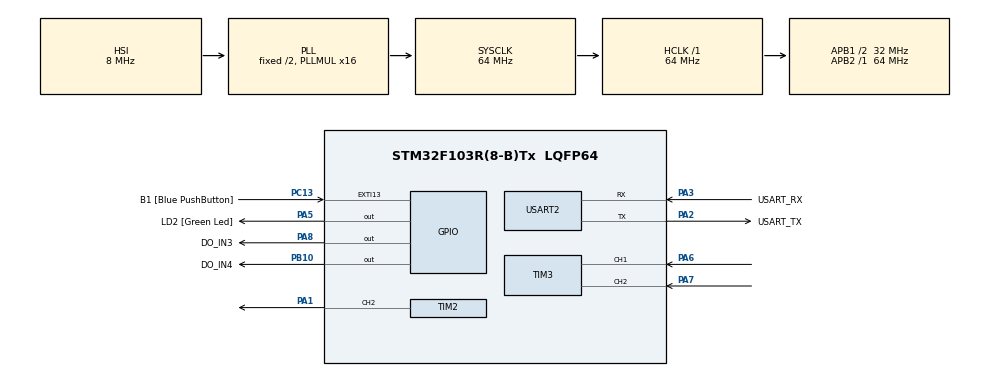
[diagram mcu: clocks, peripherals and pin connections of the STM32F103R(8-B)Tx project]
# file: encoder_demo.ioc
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Mcu.Family=STM32F1
Mcu.Name=STM32F103R(8-B)Tx
Mcu.Package=LQFP64
NVIC.EXTI15_10_IRQn=true\:0\:0\:false\:false\:true\:true\:true\:true
NVIC.PriorityGroup=NVIC_PRIORITYGROUP_4
PA1.Signal=S_TIM2_CH2
PA13.GPIO_Label=TMS
PA13.Mode=Serial_Wire
PA13.Signal=SYS_JTMS-SWDIO
PA14.GPIO_Label=TCK
PA14.Mode=Serial_Wire
PA14.Signal=SYS_JTCK-SWCLK
PA2.GPIO_Label=USART_TX
PA2.GPIO_Mode=GPIO_MODE_AF_PP
PA2.GPIO_PuPd=GPIO_NOPULL
PA2.GPIO_Speed=GPIO_SPEED_FREQ_LOW
PA2.Mode=Asynchronous
PA2.Signal=USART2_TX
PA3.GPIO_Label=USART_RX
PA3.GPIO_Mode=GPIO_MODE_AF_PP
PA3.GPIO_PuPd=GPIO_NOPULL
PA3.GPIO_Speed=GPIO_SPEED_FREQ_LOW
PA3.Mode=Asynchronous
PA3.Signal=USART2_RX
PA5.GPIO_Label=LD2 [Green Led]
PA5.GPIO_ModeDefaultOutputPP=GPIO_MODE_OUTPUT_PP
PA5.GPIO_PuPd=GPIO_NOPULL
PA5.GPIO_Speed=GPIO_SPEED_FREQ_LOW
PA5.Signal=GPIO_Output
PA6.Signal=S_TIM3_CH1
PA7.Signal=S_TIM3_CH2
PA8.GPIO_Label=DO_IN3
PA8.Signal=GPIO_Output
PB10.GPIO_Label=DO_IN4
PB10.Signal=GPIO_Output
PB3.GPIO_Label=SWO
PB3.Signal=SYS_JTDO-TRACESWO
PC13-TAMPER-RTC.GPIO_Label=B1 [Blue PushButton]
PC13-TAMPER-RTC.GPIO_PuPd=GPIO_NOPULL
PC13-TAMPER-RTC.Signal=GPXTI13
PC14-OSC32_IN.Mode=LSE-External-Oscillator
PC14-OSC32_IN.Signal=RCC_OSC32_IN
PC15-OSC32_OUT.Mode=LSE-External-Oscillator
PC15-OSC32_OUT.Signal=RCC_OSC32_OUT
PD0-OSC_IN.Mode=HSE-External-Clock-Source
PD0-OSC_IN.Signal=RCC_OSC_IN
PD1-OSC_OUT.Mode=HSE-External-Clock-Source
PD1-OSC_OUT.Signal=RCC_OSC_OUT
ProjectManager.HeapSize=0x200
ProjectManager.StackSize=0x400
ProjectManager.TargetToolchain=CMake
RCC.AHBFreq_Value=64000000
RCC.APB1CLKDivider=RCC_HCLK_DIV2
RCC.APB1Freq_Value=32000000
RCC.APB1TimFreq_Value=64000000
RCC.APB2Freq_Value=64000000
RCC.APB2TimFreq_Value=64000000
RCC.HCLKFreq_Value=64000000
RCC.PLLMUL=RCC_PLL_MUL16
RCC.RTCClockSelection=RCC_RTCCLKSOURCE_LSE
RCC.SYSCLKFreq_VALUE=64000000
RCC.SYSCLKSource=RCC_SYSCLKSOURCE_PLLCLK
RCC.USBFreq_Value=64000000
SH.S_TIM2_CH2.0=TIM2_CH2,Output Compare2 CH2
SH.S_TIM3_CH1.0=TIM3_CH1,Encoder_Interface
SH.S_TIM3_CH2.0=TIM3_CH2,Encoder_Interface
TIM2.Channel-Output\ Compare2\ CH2=TIM_CHANNEL_2
TIM2.Period=3199
TIM2.Prescaler=0
TIM3.EncoderMode=TIM_ENCODERMODE_TI12
TIM3.IC1Filter=5
USART2.VirtualMode=VM_ASYNC
VP_TIM2_VS_ClockSourceINT.Mode=Internal
board=NUCLEO-F103RB

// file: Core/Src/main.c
/* USER CODE BEGIN Header */
/**
  ******************************************************************************
  * @file           : main.c
  * @brief          : Main program body
  ******************************************************************************
  * @attention
  *
  * Copyright (c) 2026 STMicroelectronics.
  * All rights reserved.
  *
  * This software is licensed under terms that can be found in the LICENSE file
  * in the root directory of this software component.
  * If no LICENSE file comes with this software, it is provided AS-IS.
  *
  ******************************************************************************
  */
/* USER CODE END Header */
#include "main.h"
#include "PID.h"
#include "stm32f103xb.h"
#include "stm32f1xx_hal_uart.h"
#include <stdint.h>
#include <stdio.h>
#include <string.h>

/* USER CODE BEGIN PD */

#define ENCODER_COUNTS_PER_REV 2048.0f
#define UART_PUBLISH_INTERVAL_MS 20U

/* Motor control constants */
#define MOTOR_PWM_DUTY_MAX  3199U

/* PID tuning — gains are for normalized output [0, 1]; firmware scales to counts after compute
 * Derived from identified plant: G(s) = 131.15 / (1 + 0.10094*s), input = normalized PWM */
#define PID_SAMPLE_TIME_S   0.020f
#define PID_KP              0.004f
#define PID_KI              0.040f
#define PID_KD              0.000f
#define PID_TAU             0.020f

/* USER CODE END PD */

TIM_HandleTypeDef htim2;
TIM_HandleTypeDef htim3;

UART_HandleTypeDef huart2;

/* USER CODE BEGIN PV */
char uart_buffer[64];
uint32_t last_uart_publish_tick = 0;

static uint8_t experiment_running = 0;
static float rpm_setpoint = 0.0f;
static char rx_buf[8];
static uint8_t rx_idx = 0;
PIDController motor_pid;

/* USER CODE END PV */

void SystemClock_Config(void);
static void MX_GPIO_Init(void);
static void MX_TIM3_Init(void);
static void MX_USART2_UART_Init(void);
static void MX_TIM2_Init(void);

/* USER CODE BEGIN 0 */

static float encoder_compute_rpm(uint16_t current_count,
                                 uint16_t previous_count,
                                 uint32_t elapsed_ms)
{
  if (elapsed_ms == 0U)
  {
    return 0.0f;
  }

  int16_t count_delta = (int16_t)(current_count - previous_count);
  float elapsed_minutes = ((float)elapsed_ms) / 60000.0f;

  return ((float)count_delta / ENCODER_COUNTS_PER_REV) / elapsed_minutes;
}

/**
  * @brief Set motor to forward direction and apply PWM duty
  * @param duty: PWM duty cycle (0 to 3199)
  */
static void motor_set_forward(uint16_t duty)
{
  HAL_GPIO_WritePin(DO_IN3_GPIO_Port, DO_IN3_Pin, GPIO_PIN_RESET);
  HAL_GPIO_WritePin(DO_IN4_GPIO_Port, DO_IN4_Pin, GPIO_PIN_SET);
  __HAL_TIM_SET_COMPARE(&htim2, TIM_CHANNEL_2, duty);
}

/**
  * @brief Set motor to reverse direction and apply PWM duty
  * @param duty: PWM duty cycle (0 to 3199)
  */
static void motor_set_reverse(uint16_t duty)
{
  HAL_GPIO_WritePin(DO_IN4_GPIO_Port, DO_IN4_Pin, GPIO_PIN_RESET);
  HAL_GPIO_WritePin(DO_IN3_GPIO_Port, DO_IN3_Pin, GPIO_PIN_SET);
  __HAL_TIM_SET_COMPARE(&htim2, TIM_CHANNEL_2, duty);
}

/* USER CODE END 0 */

int main(void)
{

  /* MCU Configuration--------------------------------------------------------*/

  /* Reset of all peripherals, Initializes the Flash interface and the Systick. */
  HAL_Init();

  /* Configure the system clock */
  SystemClock_Config();

  /* Initialize all configured peripherals */
  MX_GPIO_Init();
  MX_TIM3_Init();
  MX_USART2_UART_Init();
  MX_TIM2_Init();
  /* USER CODE BEGIN 2 */
  uint16_t counter_value = 0;
  uint16_t past_counter_value = 0;
  float motor_rpm = 0.0f;
  HAL_TIM_Encoder_Start(&htim3, TIM_CHANNEL_ALL);
  __HAL_TIM_SET_COUNTER(&htim3, 0U);
  HAL_TIM_PWM_Start(&htim2, TIM_CHANNEL_2);

  motor_pid.Kp = PID_KP;
  motor_pid.Ki = PID_KI;
  motor_pid.Kd = PID_KD;
  motor_pid.tau = PID_TAU;
  motor_pid.T = PID_SAMPLE_TIME_S;
  motor_pid.limMin = -1.0f;
  motor_pid.limMax = 1.0f;
  motor_pid.limMinInt = -1.0f;
  motor_pid.limMaxInt = 1.0f;
  PID_Init(&motor_pid);
  /* Send 's' to arm, then any integer RPM value (e.g. "120") to set the target */

  /* USER CODE END 2 */

  /* Infinite loop */
  while (1)
  {

    /* USER CODE BEGIN 3 */
    uint32_t current_tick = HAL_GetTick();

    /* UART RX: buffer chars until newline, then parse command.
     * 's'       — arm the experiment (motor off, setpoint = 0)
     * '0'..'9'  — update RPM setpoint forward (e.g. "120\n")
     * '-' + digits — set negative RPM setpoint for reverse (e.g. "-120\n")
     */
    if (__HAL_UART_GET_FLAG(&huart2, UART_FLAG_RXNE))
    {
      uint8_t rx_byte = (uint8_t)(huart2.Instance->DR & 0xFFU);
      if (rx_byte == '\r' || rx_byte == '\n')
      {
        if (rx_idx > 0U)
        {
          rx_buf[rx_idx] = '\0';
          if (rx_idx == 1U && rx_buf[0] == 's')
          {
            experiment_running = 1;
            last_uart_publish_tick = current_tick;
            past_counter_value = __HAL_TIM_GET_COUNTER(&htim3);
            PID_Init(&motor_pid);
            rpm_setpoint = 0.0f;
          }
          else
          {
            int32_t val = 0;
            uint8_t start = 0U;
            int8_t sign = 1;
            if (rx_buf[0] == '-')
            {
              sign = -1;
              start = 1U;
            }
            for (uint8_t i = start; i < rx_idx; i++)
            {
              if (rx_buf[i] >= '0' && rx_buf[i] <= '9')
              {
                val = val * 10 + (int32_t)(rx_buf[i] - '0');
              }
            }
            rpm_setpoint = (float)(sign * val);
          }
          rx_idx = 0U;
        }
      }
      else if (rx_idx < (uint8_t)(sizeof(rx_buf) - 1U))
      {
        rx_buf[rx_idx++] = (char)rx_byte;
      }
    }

    if (experiment_running)
    {
      counter_value = __HAL_TIM_GET_COUNTER(&htim3);

      if ((current_tick - last_uart_publish_tick) >= UART_PUBLISH_INTERVAL_MS)
      {
        uint32_t sample_elapsed_ms = current_tick - last_uart_publish_tick;

        motor_rpm = encoder_compute_rpm(counter_value, past_counter_value, sample_elapsed_ms);

        /* PID velocity control — normalized output then scale to counts */
        float u_norm = PID_Compute(&motor_pid, rpm_setpoint, motor_rpm);
        float u_abs  = (u_norm < 0.0f) ? -u_norm : u_norm;
        uint16_t pwm_command = (uint16_t)(u_abs * (float)MOTOR_PWM_DUTY_MAX);

        if (rpm_setpoint == 0.0f)
        {
          HAL_GPIO_WritePin(DO_IN3_GPIO_Port, DO_IN3_Pin, GPIO_PIN_RESET);
          HAL_GPIO_WritePin(DO_IN4_GPIO_Port, DO_IN4_Pin, GPIO_PIN_RESET);
          __HAL_TIM_SET_COMPARE(&htim2, TIM_CHANNEL_2, 0U);
        }
        else if (u_norm >= 0.0f)
        {
          motor_set_forward(pwm_command);
        }
        else
        {
          motor_set_reverse(pwm_command);
        }

        /* Telemetry — log current-cycle command alongside current measurement */
        const char *u_sign = (u_norm < 0.0f) ? "-" : "";
        uint32_t u_int  = (uint32_t)u_abs;
        uint32_t u_frac = (uint32_t)((u_abs - (float)u_int) * 1000.0f);

        int tx_len = snprintf(uart_buffer,
                              sizeof(uart_buffer),
                              "%d,%d,%s%lu.%03lu\r\n",
                              (int)motor_rpm,
                              (int)rpm_setpoint,
                              u_sign,
                              (unsigned long)u_int,
                              (unsigned long)u_frac);

        if (tx_len > 0)
        {
          HAL_UART_Transmit(&huart2, (uint8_t*)uart_buffer, (uint16_t)tx_len, 20);
        }
        last_uart_publish_tick = current_tick;
        past_counter_value = counter_value;
      }
    }

  }
  /* USER CODE END 3 */
}

void SystemClock_Config(void)
{
  RCC_OscInitTypeDef RCC_OscInitStruct = {0};
  RCC_ClkInitTypeDef RCC_ClkInitStruct = {0};

  /** Initializes the RCC Oscillators according to the specified parameters
  * in the RCC_OscInitTypeDef structure.
  */
  RCC_OscInitStruct.OscillatorType = RCC_OSCILLATORTYPE_HSI;
  RCC_OscInitStruct.HSIState = RCC_HSI_ON;
  RCC_OscInitStruct.HSICalibrationValue = RCC_HSICALIBRATION_DEFAULT;
  RCC_OscInitStruct.PLL.PLLState = RCC_PLL_ON;
  RCC_OscInitStruct.PLL.PLLSource = RCC_PLLSOURCE_HSI_DIV2;
  RCC_OscInitStruct.PLL.PLLMUL = RCC_PLL_MUL16;
  if (HAL_RCC_OscConfig(&RCC_OscInitStruct) != HAL_OK)
  {
    Error_Handler();
  }

  /** Initializes the CPU, AHB and APB buses clocks
  */
  RCC_ClkInitStruct.ClockType = RCC_CLOCKTYPE_HCLK|RCC_CLOCKTYPE_SYSCLK
                              |RCC_CLOCKTYPE_PCLK1|RCC_CLOCKTYPE_PCLK2;
  RCC_ClkInitStruct.SYSCLKSource = RCC_SYSCLKSOURCE_PLLCLK;
  RCC_ClkInitStruct.AHBCLKDivider = RCC_SYSCLK_DIV1;
  RCC_ClkInitStruct.APB1CLKDivider = RCC_HCLK_DIV2;
  RCC_ClkInitStruct.APB2CLKDivider = RCC_HCLK_DIV1;

  if (HAL_RCC_ClockConfig(&RCC_ClkInitStruct, FLASH_LATENCY_2) != HAL_OK)
  {
    Error_Handler();
  }
}

static void MX_TIM2_Init(void)
{

  TIM_ClockConfigTypeDef sClockSourceConfig = {0};
  TIM_MasterConfigTypeDef sMasterConfig = {0};
  TIM_OC_InitTypeDef sConfigOC = {0};

  htim2.Instance = TIM2;
  htim2.Init.Prescaler = 0;
  htim2.Init.CounterMode = TIM_COUNTERMODE_UP;
  htim2.Init.Period = 3199;
  htim2.Init.ClockDivision = TIM_CLOCKDIVISION_DIV1;
  htim2.Init.AutoReloadPreload = TIM_AUTORELOAD_PRELOAD_DISABLE;
  if (HAL_TIM_Base_Init(&htim2) != HAL_OK)
  {
    Error_Handler();
  }
  sClockSourceConfig.ClockSource = TIM_CLOCKSOURCE_INTERNAL;
  if (HAL_TIM_ConfigClockSource(&htim2, &sClockSourceConfig) != HAL_OK)
  {
    Error_Handler();
  }
  if (HAL_TIM_OC_Init(&htim2) != HAL_OK)
  {
    Error_Handler();
  }
  sMasterConfig.MasterOutputTrigger = TIM_TRGO_RESET;
  sMasterConfig.MasterSlaveMode = TIM_MASTERSLAVEMODE_DISABLE;
  if (HAL_TIMEx_MasterConfigSynchronization(&htim2, &sMasterConfig) != HAL_OK)
  {
    Error_Handler();
  }
  sConfigOC.OCMode = TIM_OCMODE_PWM1;
  sConfigOC.Pulse = 0;
  sConfigOC.OCPolarity = TIM_OCPOLARITY_HIGH;
  sConfigOC.OCFastMode = TIM_OCFAST_DISABLE;
  if (HAL_TIM_OC_ConfigChannel(&htim2, &sConfigOC, TIM_CHANNEL_2) != HAL_OK)
  {
    Error_Handler();
  }
  HAL_TIM_MspPostInit(&htim2);

}

static void MX_TIM3_Init(void)
{

  TIM_Encoder_InitTypeDef sConfig = {0};
  TIM_MasterConfigTypeDef sMasterConfig = {0};

  htim3.Instance = TIM3;
  htim3.Init.Prescaler = 0;
  htim3.Init.CounterMode = TIM_COUNTERMODE_UP;
  htim3.Init.Period = 65535;
  htim3.Init.ClockDivision = TIM_CLOCKDIVISION_DIV1;
  htim3.Init.AutoReloadPreload = TIM_AUTORELOAD_PRELOAD_DISABLE;
  sConfig.EncoderMode = TIM_ENCODERMODE_TI12;
  sConfig.IC1Polarity = TIM_ICPOLARITY_RISING;
  sConfig.IC1Selection = TIM_ICSELECTION_DIRECTTI;
  sConfig.IC1Prescaler = TIM_ICPSC_DIV1;
  sConfig.IC1Filter = 5;
  sConfig.IC2Polarity = TIM_ICPOLARITY_RISING;
  sConfig.IC2Selection = TIM_ICSELECTION_DIRECTTI;
  sConfig.IC2Prescaler = TIM_ICPSC_DIV1;
  sConfig.IC2Filter = 0;
  if (HAL_TIM_Encoder_Init(&htim3, &sConfig) != HAL_OK)
  {
    Error_Handler();
  }
  sMasterConfig.MasterOutputTrigger = TIM_TRGO_RESET;
  sMasterConfig.MasterSlaveMode = TIM_MASTERSLAVEMODE_DISABLE;
  if (HAL_TIMEx_MasterConfigSynchronization(&htim3, &sMasterConfig) != HAL_OK)
  {
    Error_Handler();
  }

}

static void MX_USART2_UART_Init(void)
{

  huart2.Instance = USART2;
  huart2.Init.BaudRate = 115200;
  huart2.Init.WordLength = UART_WORDLENGTH_8B;
  huart2.Init.StopBits = UART_STOPBITS_1;
  huart2.Init.Parity = UART_PARITY_NONE;
  huart2.Init.Mode = UART_MODE_TX_RX;
  huart2.Init.HwFlowCtl = UART_HWCONTROL_NONE;
  huart2.Init.OverSampling = UART_OVERSAMPLING_16;
  if (HAL_UART_Init(&huart2) != HAL_OK)
  {
    Error_Handler();
  }

}

static void MX_GPIO_Init(void)
{
  GPIO_InitTypeDef GPIO_InitStruct = {0};

  /* GPIO Ports Clock Enable */
  __HAL_RCC_GPIOC_CLK_ENABLE();
  __HAL_RCC_GPIOD_CLK_ENABLE();
  __HAL_RCC_GPIOA_CLK_ENABLE();
  __HAL_RCC_GPIOB_CLK_ENABLE();

  /*Configure GPIO pin Output Level */
  HAL_GPIO_WritePin(GPIOA, LD2_Pin|DO_IN3_Pin, GPIO_PIN_RESET);

  /*Configure GPIO pin Output Level */
  HAL_GPIO_WritePin(DO_IN4_GPIO_Port, DO_IN4_Pin, GPIO_PIN_RESET);

  /*Configure GPIO pin : B1_Pin */
  GPIO_InitStruct.Pin = B1_Pin;
  GPIO_InitStruct.Mode = GPIO_MODE_IT_RISING;
  GPIO_InitStruct.Pull = GPIO_NOPULL;
  HAL_GPIO_Init(B1_GPIO_Port, &GPIO_InitStruct);

  /*Configure GPIO pins : LD2_Pin DO_IN3_Pin */
  GPIO_InitStruct.Pin = LD2_Pin|DO_IN3_Pin;
  GPIO_InitStruct.Mode = GPIO_MODE_OUTPUT_PP;
  GPIO_InitStruct.Pull = GPIO_NOPULL;
  GPIO_InitStruct.Speed = GPIO_SPEED_FREQ_LOW;
  HAL_GPIO_Init(GPIOA, &GPIO_InitStruct);

  /*Configure GPIO pin : DO_IN4_Pin */
  GPIO_InitStruct.Pin = DO_IN4_Pin;
  GPIO_InitStruct.Mode = GPIO_MODE_OUTPUT_PP;
  GPIO_InitStruct.Pull = GPIO_NOPULL;
  GPIO_InitStruct.Speed = GPIO_SPEED_FREQ_LOW;
  HAL_GPIO_Init(DO_IN4_GPIO_Port, &GPIO_InitStruct);

  /* EXTI interrupt init*/
  HAL_NVIC_SetPriority(EXTI15_10_IRQn, 0, 0);
  HAL_NVIC_EnableIRQ(EXTI15_10_IRQn);

}

void Error_Handler(void)
{
  __disable_irq();
  while (1)
  {
  }
}
